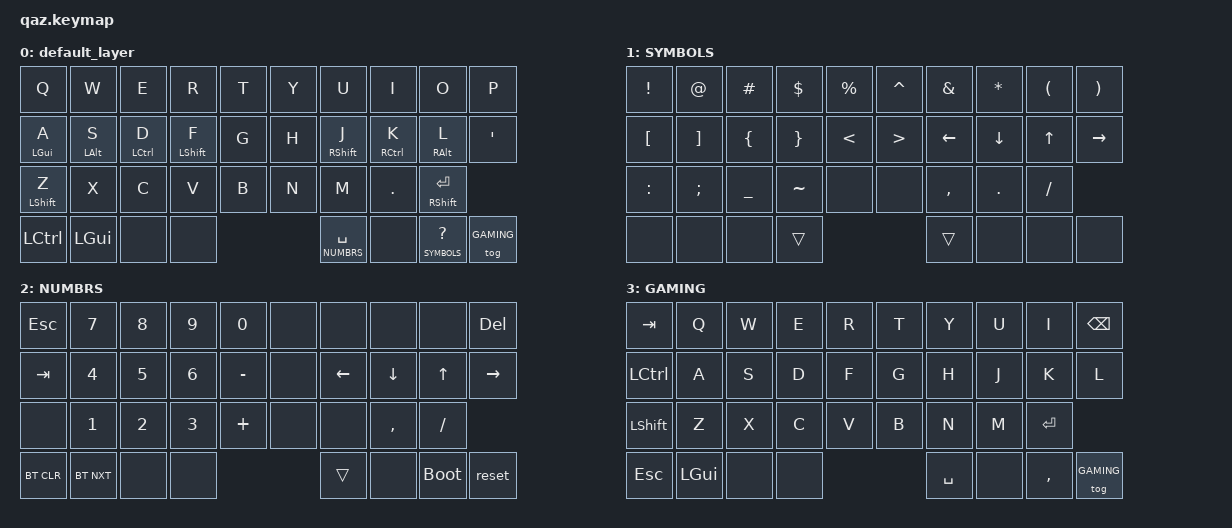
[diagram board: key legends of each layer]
/*
 * Copyright (c) 2020 The ZMK Contributors
 *
 * SPDX-License-Identifier: MIT
 */

#include <behaviors.dtsi>
#include <dt-bindings/zmk/keys.h>
#include <dt-bindings/zmk/bt.h>

#define DEFAULT 0
#define SYMBOLS 1
#define NUMBRS  2
#define GAMING  3

/ {
    behaviors {
        hm: homerow_mods {
            compatible = "zmk,behavior-hold-tap";
            label = "homerow mods";
            #binding-cells = <2>;
            tapping-term-ms = <300>;
            flavor = "tap-preferred";
            bindings = <&kp>, <&kp>;
        };
    };
};

/ {
    keymap {
        compatible = "zmk,keymap";

        default_layer {
            bindings = <
    &kp Q        &kp W       &kp E       &kp R       &kp T  &kp Y    &kp U       &kp I       &kp O      &kp P
    &hm LGUI A   &hm LALT S  &hm LCTRL D &hm LSHFT F &kp G  &kp H    &hm RSHFT J &hm RCTRL K &hm RALT L &kp SQT
    &hm LSHFT Z  &kp X       &kp C       &kp V       &kp B  &kp N    &kp M       &kp DOT     &hm RSHFT ENTER
    &kp LCTRL    &kp LGUI    &none       &none    &lt NUMBRS SPACE   &none       &lt SYMBOLS QMARK      &tog GAMING
            >;
        };
        SYMBOLS {
            bindings = <
    &kp EXCL     &kp AT_SIGN   &kp POUND        &kp DOLLAR    &kp PRCNT      &kp CARET        &kp AMPS     &kp STAR      &kp LPAR    &kp RPAR
    &kp LBKT     &kp RBKT      &kp LBRC         &kp RBRC      &kp LESS_THAN  &kp GREATER_THAN &kp LEFT     &kp DOWN      &kp UP      &kp RIGHT
    &kp COLON    &kp SEMI      &kp UNDERSCORE   &kp TILDE     &none          &none            &kp COMMA    &kp DOT       &kp FSLH
    &none        &none         &none            &trans         &trans         &none           &none  &none
            >;
        };

    NUMBRS {
            bindings = <
    &kp ESC      &kp N7      &kp N8    &kp N9       &kp N0       &none   &none        &none      &none     &kp DEL
    &kp TAB      &kp N4      &kp N5    &kp N6       &kp MINUS    &none   &kp LEFT     &kp DOWN   &kp UP    &kp RIGHT
    &none        &kp N1      &kp N2    &kp N3       &kp PLUS     &none   &none        &kp COMMA  &kp FSLH
    &bt BT_CLR   &bt BT_NXT  &none     &none        &trans       &none                &bootloader          &reset
            >;
        };
    GAMING { 
            bindings = <          
    &kp TAB      &kp Q     &kp W    &kp E       &kp R  &kp T      &kp Y         &kp U      &kp I      &kp BSPC
    &kp LCTRL    &kp A     &kp S    &kp D       &kp F  &kp G      &kp H         &kp J      &kp K      &kp L
    &kp LSHFT    &kp Z     &kp X    &kp C       &kp V  &kp B      &kp N         &kp M      &kp ENTER
    &kp ESC      &kp LGUI  &none    &none       &kp SPACE         &none         &kp COMMA      &tog GAMING   
            >;
        };
    };
};
